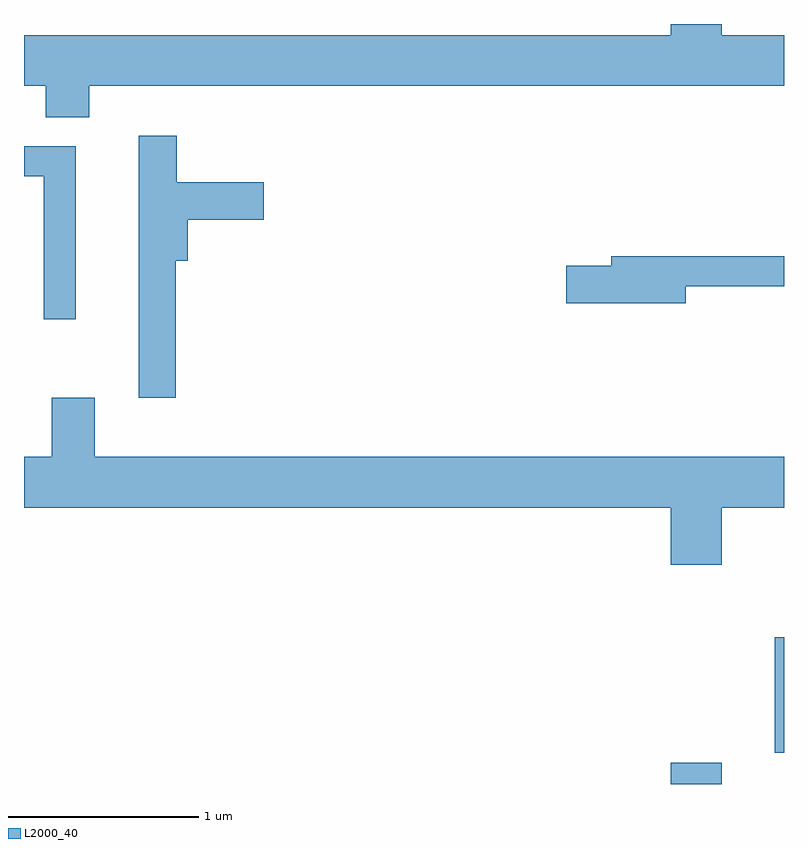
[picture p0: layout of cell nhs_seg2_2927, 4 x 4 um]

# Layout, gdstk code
import gdstk
lib = gdstk.Library(unit=1e-6, precision=1e-09)
def R(c, l, rs):  # rectangles x0, y0, x1, y1
    for r in rs: c.add(gdstk.rectangle(r[:2], r[2:], *l))
def P(c, l, *ps):  # polygons
    for p in ps: c.add(gdstk.Polygon(p, *l))
L2000_40 = (2000, 40)

nhs_seg2_2927 = lib.new_cell('nhs_seg2_2927')
R(nhs_seg2_2927, L2000_40, [(275.016,995.802,275.284,995.914), (275.561,995.966,275.611,996.574)])
P(nhs_seg2_2927, L2000_40, [(271.954,999.476),(275.611,999.476),(275.611,999.744),(275.284,999.744),(275.284,999.802),(275.016,999.802),(275.016,999.744),(271.611,999.744),(271.611,999.476),(271.726,999.476),(271.726,999.311),(271.954,999.311)],
  [(272.409,998.556),(272.474,998.556),(272.474,998.771),(272.874,998.771),(272.874,998.969),(272.414,998.969),(272.414,999.214),(272.216,999.214),(272.216,997.836),(272.409,997.836)],
  [(271.884,999.159),(271.611,999.159),(271.611,999.001),(271.716,999.001),(271.716,998.248),(271.884,998.248)],
  [(275.094,998.421),(275.611,998.421),(275.611,998.579),(274.701,998.579),(274.701,998.529),(274.466,998.529),(274.466,998.331),(275.094,998.331)],
  [(275.284,997.256),(275.611,997.256),(275.611,997.524),(271.984,997.524),(271.984,997.834),(271.756,997.834),(271.756,997.524),(271.611,997.524),(271.611,997.256),(275.016,997.256),(275.016,996.956),(275.284,996.956)])

lib.write_gds('nhs_seg2_2927.gds')
